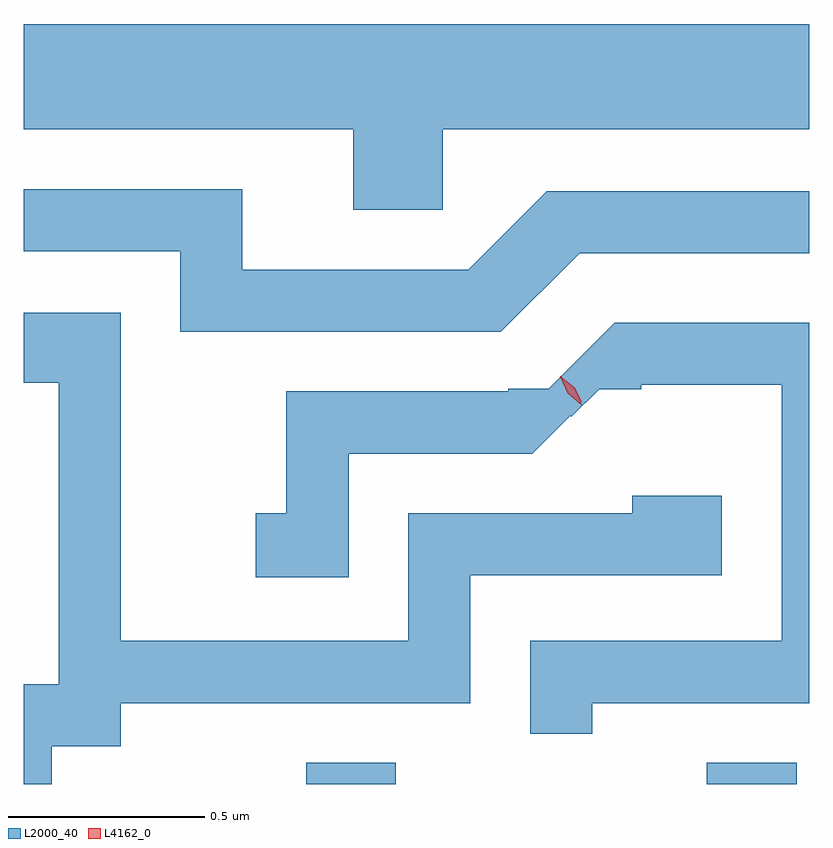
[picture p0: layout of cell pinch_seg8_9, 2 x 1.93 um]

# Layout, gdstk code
import gdstk
lib = gdstk.Library(unit=1e-6, precision=1e-09)
def R(c, l, rs):  # rectangles x0, y0, x1, y1
    for r in rs: c.add(gdstk.rectangle(r[:2], r[2:], *l))
def P(c, l, *ps):  # polygons
    for p in ps: c.add(gdstk.Polygon(p, *l))
L2000_40 = (2000, 40)
L4162_0 = (4162, 0)

pinch_seg8_9 = lib.new_cell('pinch_seg8_9')
R(pinch_seg8_9, L2000_40, [(1068.861,1888.03,1069.089,1888.084), (1069.881,1888.03,1070.109,1888.084)])
P(pinch_seg8_9, L2000_40, [(1069.209,1889.696),(1070.142,1889.696),(1070.142,1889.964),(1068.142,1889.964),(1068.142,1889.696),(1068.981,1889.696),(1068.981,1889.491),(1069.209,1889.491)],
  [(1069.557,1889.381),(1070.142,1889.381),(1070.142,1889.539),(1069.474,1889.539),(1069.274,1889.339),(1068.699,1889.339),(1068.699,1889.544),(1068.142,1889.544),(1068.142,1889.386),(1068.541,1889.386),(1068.541,1889.181),(1069.357,1889.181)],
  [(1068.214,1888.126),(1068.389,1888.126),(1068.389,1888.236),(1069.279,1888.236),(1069.279,1888.561),(1069.919,1888.561),(1069.919,1888.764),(1069.691,1888.764),(1069.691,1888.719),(1069.121,1888.719),(1069.121,1888.394),(1068.389,1888.394),(1068.389,1889.229),(1068.142,1889.229),(1068.142,1889.051),(1068.231,1889.051),(1068.231,1888.284),(1068.142,1888.284),(1068.142,1888.03),(1068.214,1888.03)],
  [(1069.589,1888.236),(1070.142,1888.236),(1070.142,1889.204),(1069.647,1889.204),(1069.479,1889.036),(1069.375,1889.036),(1069.375,1889.029),(1068.811,1889.029),(1068.811,1888.719),(1068.733,1888.719),(1068.733,1888.556),(1068.969,1888.556),(1068.969,1888.871),(1069.437,1888.871),(1069.533,1888.967),(1069.536,1888.964),(1069.607,1889.034),(1069.714,1889.034),(1069.714,1889.046),(1070.071,1889.046),(1070.071,1888.394),(1069.431,1888.394),(1069.431,1888.158),(1069.589,1888.158)])
P(pinch_seg8_9, L4162_0, [(1069.562,1888.994),(1069.527,1889.024),(1069.508,1889.066),(1069.508,1889.067),(1069.509,1889.067),(1069.543,1889.036),(1069.562,1888.994),(1069.562,1888.994)],
  [(1069.562,1889.001),(1069.53,1889.026),(1069.513,1889.062),(1069.513,1889.063),(1069.514,1889.063),(1069.545,1889.038),(1069.563,1889.002),(1069.563,1889.001)])

lib.write_gds('pinch_seg8_9.gds')
